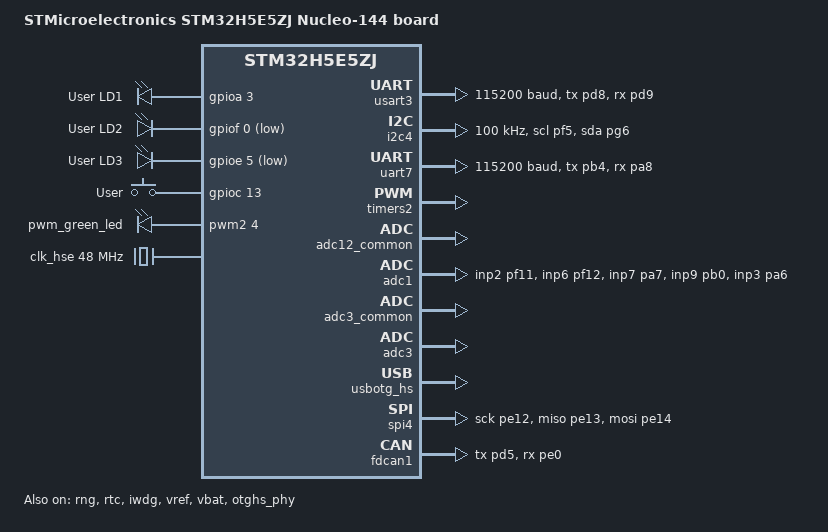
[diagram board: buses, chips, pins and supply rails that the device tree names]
/*
 * SPDX-FileCopyrightText: Copyright The Zephyr Project Contributors
 * SPDX-License-Identifier: Apache-2.0
 */

/dts-v1/;

#include <st/h5/stm32h5e5Xj.dtsi>
#include <st/h5/stm32h5e5zjtx-pinctrl.dtsi>
#include <zephyr/dt-bindings/input/input-event-codes.h>
#include <zephyr/dt-bindings/pwm/pwm.h>
#include "arduino_r3_connector.dtsi"
#include "st_morpho_connector.dtsi"

/ {
	model = "STMicroelectronics STM32H5E5ZJ Nucleo-144 board";
	compatible = "st,stm32h5e5zj-nucleo";

	chosen {
		zephyr,console = &usart3;
		zephyr,shell-uart = &usart3;
		zephyr,canbus = &fdcan1;
		zephyr,sram = &sram1;
		zephyr,flash = &flash0;
		zephyr,flash-controller = &flash;
	};

	leds {
		compatible = "gpio-leds";

		green_led: led-1 {
			gpios = <&gpioa 3 GPIO_ACTIVE_HIGH>;
			label = "User LD1";
		};

		red_led: led-2 {
			gpios = <&gpiof 0 GPIO_ACTIVE_LOW>;
			label = "User LD2";
		};

		blue_led: led-3 {
			gpios = <&gpioe 5 GPIO_ACTIVE_LOW>;
			label = "User LD3";
		};
	};

	gpio_keys {
		compatible = "gpio-keys";

		user_button: button {
			label = "User";
			gpios = <&gpioc 13 (GPIO_ACTIVE_HIGH | GPIO_PULL_DOWN)>;
			zephyr,code = <INPUT_KEY_0>;
		};
	};

	pwmleds {
		compatible = "pwm-leds";

		pwm_green_led: led-1 {
			pwms = <&pwm2 4 PWM_MSEC(20) PWM_POLARITY_NORMAL>;
		};
	};

	aliases {
		led0 = &green_led;
		led1 = &red_led;
		led2 = &blue_led;
		pwm-led0 = &pwm_green_led;
		sw0 = &user_button;
		watchdog0 = &iwdg;
		volt-sensor0 = &vref;
		volt-sensor1 = &vbat;
	};
};

&clk_hse {
	clock-frequency = <DT_FREQ_M(48)>;
	status = "okay";
};

&clk_lse {
	status = "okay";
};

&clk_hsi48 {
	status = "okay";
};

&pll {
	div-m = <12>;
	mul-n = <125>;
	div-p = <2>;
	div-q = <2>;
	div-r = <2>;
	clocks = <&clk_hse>;
	status = "okay";
};

&rcc {
	clocks = <&pll>;
	clock-frequency = <DT_FREQ_M(250)>;
	ahb-prescaler = <1>;
	apb1-prescaler = <1>;
	apb2-prescaler = <1>;
	apb3-prescaler = <1>;
};

&usart3 {
	pinctrl-0 = <&usart3_tx_pd8 &usart3_rx_pd9>;
	pinctrl-names = "default";
	current-speed = <115200>;
	status = "okay";
};

&i2c4 {
	pinctrl-0 = <&i2c4_scl_pf5 &i2c4_sda_pg6>;
	pinctrl-names = "default";
	scl-gpios = <&gpiof 5 GPIO_ACTIVE_HIGH>;
	sda-gpios = <&gpiog 6 GPIO_ACTIVE_HIGH>;
	clock-frequency = <I2C_BITRATE_STANDARD>;
	status = "okay";
};

&uart7 {
	pinctrl-0 = <&uart7_tx_pb4 &uart7_rx_pa8>;
	pinctrl-names = "default";
	current-speed = <115200>;
	status = "okay";
};

&timers2 {
	st,prescaler = <10000>;
	status = "okay";

	pwm2: pwm {
		pinctrl-0 = <&tim2_ch4_pc4>;
		pinctrl-names = "default";
		status = "okay";
	};
};

&adc12_common {
	st,adc-prescaler = <6>;
	st,adc-clock-source = "ASYNC";
	status = "okay";
};

&adc1 {
	pinctrl-0 = <&adc1_inp2_pf11 &adc1_inp6_pf12
		     &adc1_inp7_pa7 &adc1_inp9_pb0 &adc1_inp3_pa6>;
	pinctrl-names = "default";
	status = "okay";
};

&adc3_common {
	st,adc-prescaler = <6>;
	st,adc-clock-source = "ASYNC";
	status = "okay";
};

&adc3 {
	status = "okay";
};

&gpdma1 {
	status = "okay";
};

&gpdma2 {
	status = "okay";
};

&rng {
	status = "okay";
};

&rtc {
	clocks = <&rcc STM32_CLOCK(APB3, 21)>,
		 <&rcc STM32_SRC_LSE RTC_SEL(1)>;
	status = "okay";
};

&iwdg {
	status = "okay";
};

&vref {
	status = "okay";
};

&vbat {
	status = "okay";
};

&vddcore {
	status = "okay";
};

zephyr_udc0: &usbotg_hs {
	status = "okay";
};

&otghs_phy {
	clocks = <&rcc STM32_CLOCK(AHB2, 13)>,
		 <&rcc (STM32_SRC_HSE | STM32_CLOCK_DIV(2)) OTGHS_SEL(2)>,
		 <&rcc STM32_SRC_HSE OTGPHYREFCK_SEL(10)>;
	status = "okay";
};

&spi4 {
	pinctrl-0 = <&spi4_sck_pe12 &spi4_miso_pe13 &spi4_mosi_pe14>;
	pinctrl-names = "default";
	status = "okay";
};

&fdcan1 {
	pinctrl-0 = <&fdcan1_tx_pd5 &fdcan1_rx_pe0>;
	pinctrl-names = "default";
	status = "okay";
};
